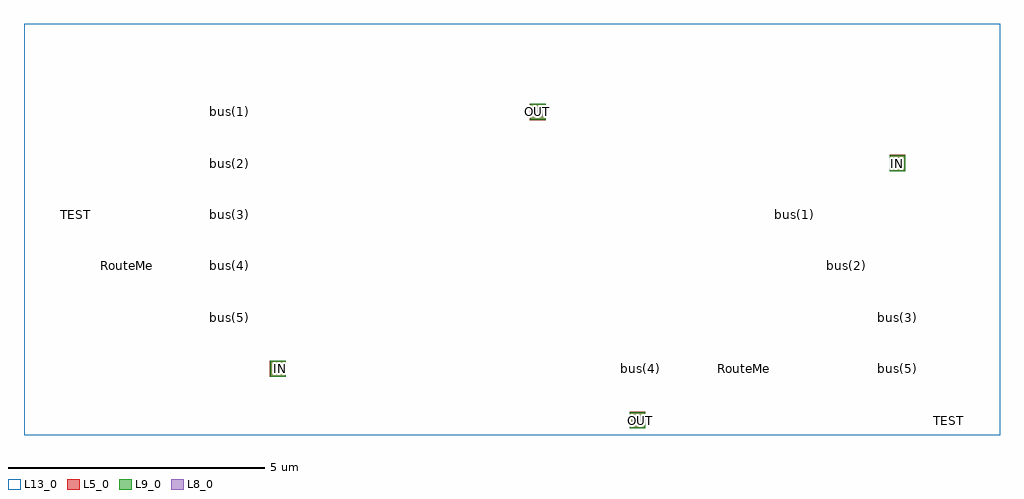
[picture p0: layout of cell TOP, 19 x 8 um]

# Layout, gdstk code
import gdstk
lib = gdstk.Library(unit=1e-6, precision=1e-09)
def R(c, l, rs):  # rectangles x0, y0, x1, y1
    for r in rs: c.add(gdstk.rectangle(r[:2], r[2:], *l))
L5_0 = (5, 0)
L8_0 = (8, 0)
L9_0 = (9, 0)
L13_0 = (13, 0)

top = lib.new_cell('TOP')
R(top, L5_0, [(11.785,0.84,12.095,1.16), (4.785,1.84,5.095,2.16), (16.845,5.84,17.155,6.16), (9.845,6.84,10.155,7.16)])
R(top, L8_0, [(11.85,0.91,12.03,1.09), (4.85,1.91,5.03,2.09), (16.91,5.91,17.09,6.09), (9.91,6.91,10.09,7.09)])
R(top, L9_0, [(11.79,0.845,12.09,1.155), (4.79,1.845,5.09,2.155), (16.85,5.845,17.15,6.155), (9.85,6.845,10.15,7.155)])
R(top, L13_0, [(0,0.71,18.995,8.71)])
top.add(gdstk.Label('RouteMe', (14,2), layer=9, texttype=0))
top.add(gdstk.Label('TEST', (1,5), layer=9, texttype=0))
top.add(gdstk.Label('bus(1)', (4,7), layer=9, texttype=0))
top.add(gdstk.Label('bus(2)', (4,6), layer=9, texttype=0))
top.add(gdstk.Label('bus(3)', (4,5), layer=9, texttype=0))
top.add(gdstk.Label('bus(4)', (4,4), layer=9, texttype=0))
top.add(gdstk.Label('bus(5)', (4,3), layer=9, texttype=0))
top.add(gdstk.Label('bus(1)', (15,5), layer=9, texttype=0))
top.add(gdstk.Label('bus(2)', (16,4), layer=9, texttype=0))
top.add(gdstk.Label('bus(3)', (17,3), layer=9, texttype=0))
top.add(gdstk.Label('bus(4)', (12,2), layer=9, texttype=0))
top.add(gdstk.Label('bus(5)', (17,2), layer=9, texttype=0))
top.add(gdstk.Label('IN', (5,2), layer=9, texttype=0))
top.add(gdstk.Label('IN', (17,6), layer=9, texttype=0))
top.add(gdstk.Label('OUT', (10,7), layer=9, texttype=0))
top.add(gdstk.Label('OUT', (12,1), layer=9, texttype=0))
top.add(gdstk.Label('TEST', (18,1), layer=9, texttype=0))
top.add(gdstk.Label('RouteMe', (2,4), layer=9, texttype=0))

lib.write_gds('TOP.gds')
